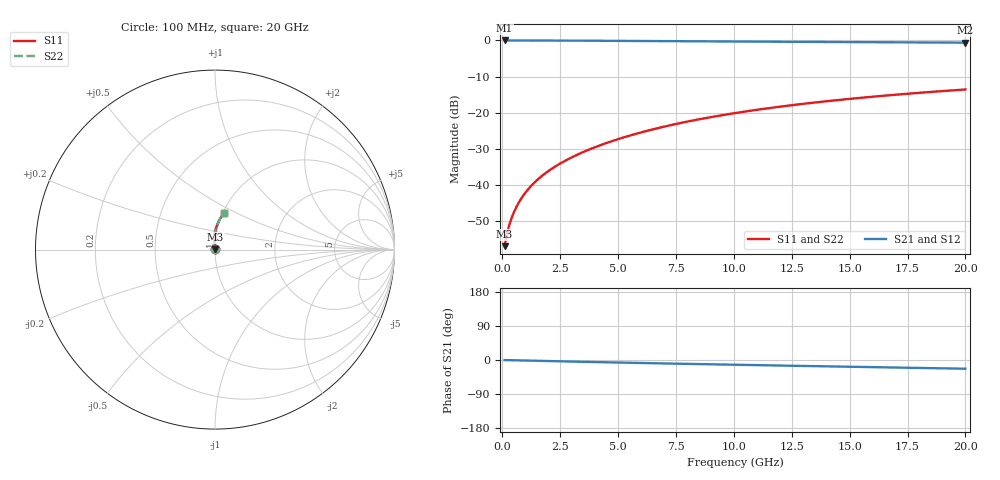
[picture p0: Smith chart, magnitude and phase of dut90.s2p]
! Touchstone file exported from HFSS 2024.1.0
!  File:  C:/UserFiles/LocalFiles/RDL_TSV_Batchsim/temp_RDL_bottom_90_1778694773.aedt
!  Generated:  01:55:10 AM May 14, 2026
!  Design:  RDL_bottom
!  Project:  temp_RDL_bottom_90_1778694773
!  Setup:  Setup1
!  Solution:  Sweep
! Variables:
!  dtsv = 10.80580581um
!  hbump = 3um
!  htsv = 72.88um
!  ldown = 317.34um
!  lrdl = 100um
!  p = 40
!  p1 = 54.66um
!  rhole = 1um
!  t = 450um
!  tdown = 4.27um
!  trdl = 3.915915916um
!  wdown = 29.16um
!  wrdl = 20um
# GHz S MA R 50.000000
! Terminal data exported
! Port[1] = RDL1_T1
! Port[2] = RDL1_T2
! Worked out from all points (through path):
!   200 points, 100 MHz to 20 GHz, reference 50 ohm
!   highest |S21| = -0.01 dB at 100 MHz (marker M1); lowest = -0.6 dB at 20 GHz (marker M2)
!   group delay of S21, straight-line fit = 3.14 ps
!   lowest |S11| = -56.9 dB at 100 MHz (marker M3), VSWR 1.00, Z = 50.1 + j0.0888 ohm
!   |S11| at or under -10 dB: start of sweep to end of sweep
!   |S22| runs from -56.9 to -13.6 dB; largest |S21 - S12| = 3.6e-15
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0.1  0.001428 38.4  0.9989 -0.1  0.9989 -0.1  0.001428 38.4
! Gamma 0 0 0 0
! Port Impedance 50 0 50 0
0.2  0.00209 55.0  0.9988 -0.3  0.9988 -0.3  0.00209 55.0
0.3  0.00279 63.1  0.9986 -0.4  0.9986 -0.4  0.00279 63.1
0.4  0.003491 68.2  0.9985 -0.6  0.9985 -0.6  0.003491 68.2
0.5  0.004199 71.8  0.9984 -0.7  0.9984 -0.7  0.004199 71.8
0.6  0.004914 74.6  0.9984 -0.9  0.9984 -0.9  0.004914 74.6
0.8  0.006372 78.6  0.9981 -1.1  0.9981 -1.1  0.006372 78.6
1.1  0.008617 82.5  0.9978 -1.6  0.9978 -1.6  0.008617 82.5
1.3  0.01015 84.4  0.9975 -1.8  0.9975 -1.8  0.01015 84.4
1.6  0.01249 86.4  0.9969 -2.3  0.9969 -2.3  0.01249 86.4
2.1  0.01651 88.9  0.9958 -2.9  0.9958 -2.9  0.01651 88.9
2.7  0.02155 90.8  0.9941 -3.8  0.9941 -3.8  0.02155 90.8
3.5  0.02866 92.5  0.9915 -4.8  0.9915 -4.8  0.02866 92.5
4.2  0.03524 93.3  0.989 -5.7  0.989 -5.7  0.03524 93.3
5  0.04315 93.7  0.9858 -6.7  0.9858 -6.7  0.04315 93.7
6.8  0.06217 93.1  0.9784 -8.9  0.9784 -8.9  0.06218 93.1
8.4  0.08004 91.7  0.972 -10.7  0.972 -10.7  0.08005 91.7
10.1  0.09949 89.6  0.9655 -12.6  0.9655 -12.6  0.0995 89.7
11.7  0.1179 87.5  0.9596 -14.3  0.9596 -14.3  0.1179 87.5
13.4  0.1374 85.1  0.9537 -16.1  0.9537 -16.1  0.1374 85.1
16.7  0.1744 80.6  0.9424 -19.6  0.9424 -19.6  0.1744 80.6
20  0.2098 76.2  0.9313 -23.0  0.9313 -23.0  0.2098 76.2
